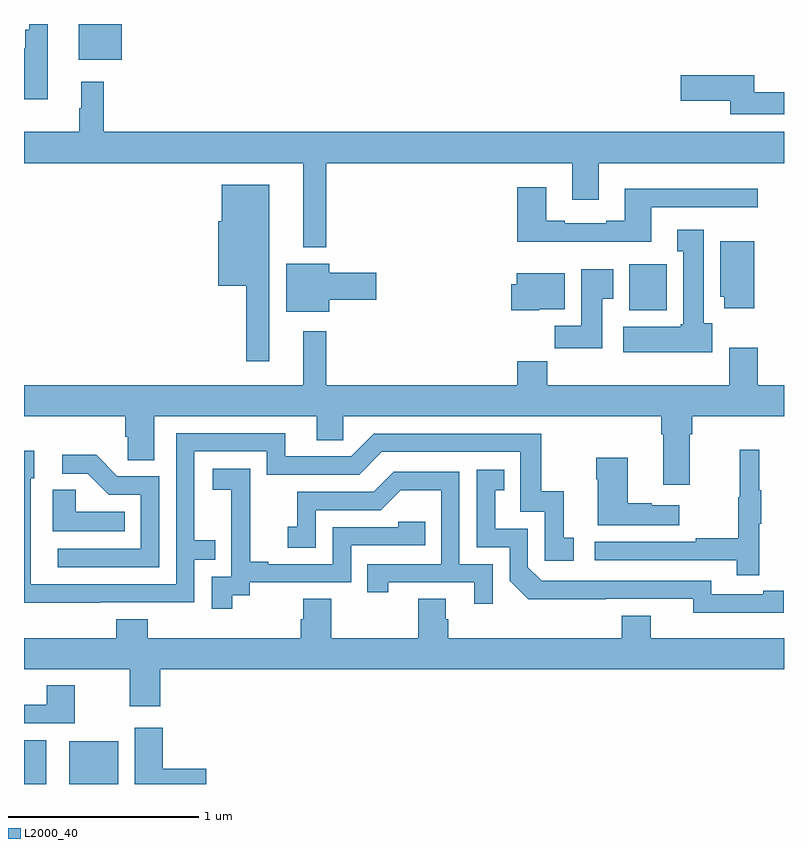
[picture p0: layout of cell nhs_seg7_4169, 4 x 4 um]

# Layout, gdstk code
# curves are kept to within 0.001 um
import gdstk
lib = gdstk.Library(unit=1e-6, precision=1e-09)
def R(c, l, rs):  # rectangles x0, y0, x1, y1
    for r in rs: c.add(gdstk.rectangle(r[:2], r[2:], *l))
def P(c, l, *ps):  # polygons
    for p in ps: c.add(gdstk.Polygon(p, *l))
L2000_40 = (2000, 40)

nhs_seg7_4169 = lib.new_cell('nhs_seg7_4169')
R(nhs_seg7_4169, L2000_40, [(375,1012,375.118,1012.231), (375.239,1012,375.496,1012.225), (378.185,1014.494,378.382,1014.736), (375.287,1015.811,375.514,1016)])
P(nhs_seg7_4169, L2000_40, [(375.124,1016),(375.027,1016),(375.027,1015.969),(375.007,1015.969),(375.007,1015.873),(375,1015.873),(375,1015.604),(375.124,1015.604)],
  [(379,1015.64),(378.844,1015.64),(378.844,1015.73),(378.456,1015.73),(378.456,1015.595),(378.716,1015.595),(378.716,1015.524),(379,1015.524)],
  [(376.591,1015.268),(377.885,1015.268),(377.885,1015.074),(378.025,1015.074),(378.025,1015.268),(379,1015.268),(379,1015.432),(375.419,1015.432),(375.419,1015.696),(375.302,1015.696),(375.302,1015.556),(375.291,1015.556),(375.291,1015.432),(375,1015.432),(375,1015.268),(376.469,1015.268),(376.469,1014.824),(376.591,1014.824)],
  [(376.291,1015.153),(376.04,1015.153),(376.04,1014.963),(376.022,1014.963),(376.022,1014.623),(376.17,1014.623),(376.17,1014.225),(376.291,1014.225)],
  [(378.301,1015.035),(378.862,1015.035),(378.862,1015.132),(378.161,1015.132),(378.161,1014.964),(378.065,1014.964),(378.065,1014.951),(377.845,1014.951),(377.845,1014.964),(377.749,1014.964),(377.749,1015.141),(377.597,1015.141),(377.597,1014.854),(378.301,1014.854)],
  [(378.622,1014.426),(378.577,1014.426),(378.577,1014.916),(378.437,1014.916),(378.437,1014.803),(378.47,1014.803),(378.47,1014.42),(378.457,1014.42),(378.457,1014.406),(378.153,1014.406),(378.153,1014.272),(378.622,1014.272)],
  [(378.844,1014.856),(378.665,1014.856),(378.665,1014.564),(378.686,1014.564),(378.686,1014.504),(378.844,1014.504)],
  [(376.606,1014.55),(376.855,1014.55),(376.855,1014.692),(376.606,1014.692),(376.606,1014.739),(376.379,1014.739),(376.379,1014.485),(376.606,1014.485)],
  [(378.043,1014.553),(378.1,1014.553),(378.1,1014.709),(377.933,1014.709),(377.933,1014.412),(377.794,1014.412),(377.794,1014.294),(378.043,1014.294)],
  [(377.712,1014.5),(377.845,1014.5),(377.845,1014.688),(377.594,1014.688),(377.594,1014.63),(377.564,1014.63),(377.564,1014.494),(377.712,1014.494)],
  [(377.753,1014.224),(377.597,1014.224),(377.597,1014.1),(376.591,1014.1),(376.591,1014.382),(376.469,1014.382),(376.469,1014.1),(375,1014.1),(375,1013.936),(375.533,1013.936),(375.533,1013.827),(375.546,1013.827),(375.546,1013.704),(375.685,1013.704),(375.685,1013.936),(376.541,1013.936),(376.541,1013.809),(376.68,1013.809),(376.68,1013.936),(378.353,1013.936),(378.353,1013.84),(378.365,1013.84),(378.365,1013.574),(378.505,1013.574),(378.505,1013.84),(378.518,1013.84),(378.518,1013.936),(379,1013.936),(379,1014.1),(378.861,1014.1),(378.861,1014.295),(378.713,1014.295),(378.713,1014.1),(377.753,1014.1)],
  [(375.401,1012.956),(375.897,1012.956),(375.897,1013.181),(376.007,1013.181),(376.007,1013.282),(375.897,1013.282),(375.897,1013.751),(376.278,1013.751),(376.278,1013.628),(376.764,1013.628),(376.884,1013.748),(377.613,1013.748),(377.613,1013.433),(377.742,1013.433),(377.742,1013.175),(377.893,1013.175),(377.893,1013.295),(377.84,1013.295),(377.84,1013.542),(377.722,1013.542),(377.722,1013.844),(376.842,1013.844),(376.722,1013.724),(376.375,1013.724),(376.375,1013.847),(375.801,1013.847),(375.801,1013.052),(375.036,1013.052),(375.036,1013.61),(375.055,1013.61),(375.055,1013.755),(375,1013.755),(375,1012.955)],
  [(378.869,1013.371),(378.88,1013.371),(378.88,1013.545),(378.869,1013.545),(378.869,1013.758),(378.766,1013.758),(378.766,1013.508),(378.759,1013.508),(378.759,1013.294),(378.535,1013.294),(378.535,1013.274),(378.003,1013.274),(378.003,1013.178),(378.751,1013.178),(378.751,1013.1),(378.869,1013.1)],
  [(375.711,1013.619),(375.492,1013.619),(375.379,1013.732),(375.201,1013.732),(375.201,1013.634),(375.335,1013.634),(375.446,1013.523),(375.615,1013.523),(375.615,1013.238),(375.177,1013.238),(375.177,1013.142),(375.711,1013.142)],
  [(378.448,1013.467),(378.305,1013.467),(378.305,1013.477),(378.178,1013.477),(378.178,1013.716),(378.013,1013.716),(378.013,1013.603),(378.02,1013.603),(378.02,1013.363),(378.448,1013.363)],
  [(376.096,1012.993),(376.188,1012.993),(376.188,1013.061),(376.722,1013.061),(376.722,1013.256),(377.111,1013.256),(377.111,1013.379),(376.971,1013.379),(376.971,1013.352),(376.626,1013.352),(376.626,1013.157),(376.285,1013.157),(376.285,1013.17),(376.19,1013.17),(376.19,1013.453),(376.191,1013.453),(376.191,1013.659),(375.993,1013.659),(375.993,1013.549),(376.091,1013.549),(376.091,1013.321),(376.092,1013.321),(376.092,1013.091),(375.987,1013.091),(375.987,1012.923),(376.096,1012.923)],
  [(378.89,1012.902),(378.998,1012.902),(378.998,1013.018),(378.89,1013.018),(378.89,1012.998),(378.618,1012.998),(378.618,1013.07),(377.724,1013.07),(377.652,1013.142),(377.652,1013.343),(377.479,1013.343),(377.479,1013.547),(377.528,1013.547),(377.528,1013.653),(377.382,1013.653),(377.382,1013.247),(377.556,1013.247),(377.556,1013.07),(377.654,1012.973),(378.522,1012.974),(378.522,1012.901)],
  [(377.466,1013.157),(377.292,1013.157),(377.292,1013.643),(376.946,1013.643),(376.841,1013.538),(376.438,1013.538),(376.438,1013.353),(376.389,1013.353),(376.389,1013.244),(376.536,1013.244),(376.536,1013.442),(376.878,1013.442),(376.982,1013.546),(377.196,1013.546),(377.196,1013.157),(376.807,1013.157),(376.807,1013.01),(376.918,1013.01),(376.918,1013.061),(377.369,1013.061),(377.369,1012.95),(377.466,1012.95)],
  [(375.53,1013.434),(375.273,1013.434),(375.273,1013.549),(375.152,1013.549),(375.152,1013.33),(375.53,1013.33)],
  [(375.716,1012.604),(379,1012.604),(379,1012.768),(378.298,1012.768),(378.298,1012.885),(378.146,1012.885),(378.146,1012.768),(377.234,1012.768),(377.234,1012.866),(377.221,1012.866),(377.221,1012.976),(377.074,1012.976),(377.074,1012.768),(376.617,1012.768),(376.617,1012.976),(376.469,1012.976),(376.469,1012.866),(376.457,1012.866),(376.457,1012.768),(375.65,1012.768),(375.65,1012.867),(375.485,1012.867),(375.485,1012.768),(375,1012.768),(375,1012.604),(375.556,1012.604),(375.556,1012.41),(375.716,1012.41)],
  [(375.267,1012.519),(375.119,1012.519),(375.119,1012.416),(375,1012.416),(375,1012.32),(375.267,1012.32)],
  [(375.958,1012.081),(375.731,1012.081),(375.731,1012.297),(375.584,1012.297),(375.584,1012),(375.958,1012)])

lib.write_gds('nhs_seg7_4169.gds')
